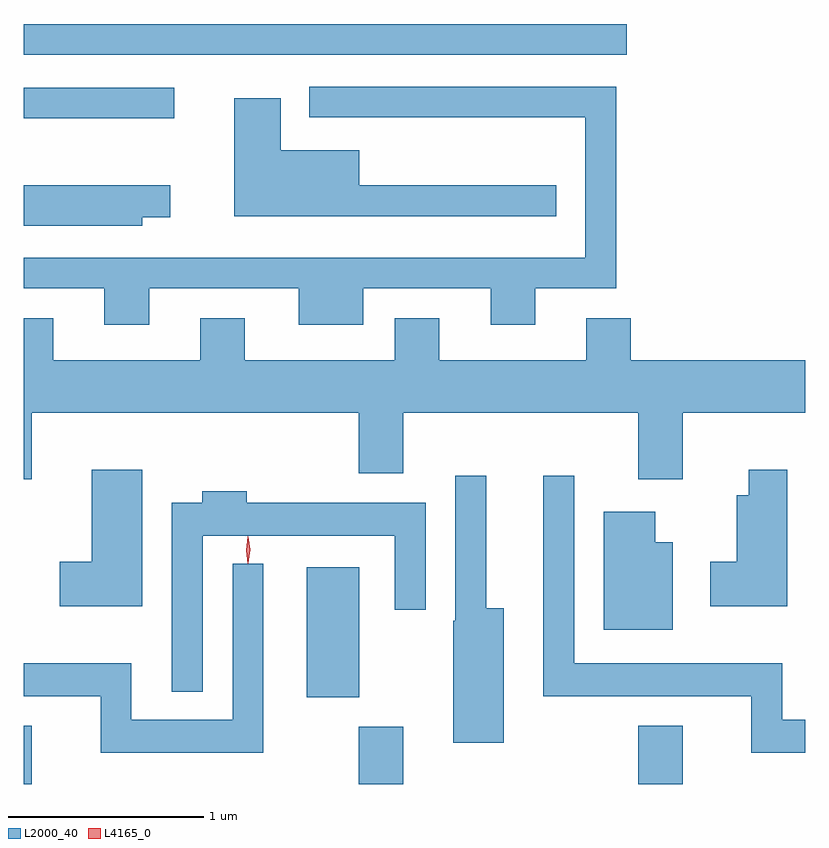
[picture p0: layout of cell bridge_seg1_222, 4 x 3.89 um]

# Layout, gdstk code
import gdstk
lib = gdstk.Library(unit=1e-6, precision=1e-09)
def R(c, l, rs):  # rectangles x0, y0, x1, y1
    for r in rs: c.add(gdstk.rectangle(r[:2], r[2:], *l))
def P(c, l, *ps):  # polygons
    for p in ps: c.add(gdstk.Polygon(p, *l))
L2000_40 = (2000, 40)
L4165_0 = (4165, 0)

bridge_seg1_222 = lib.new_cell('bridge_seg1_222')
R(bridge_seg1_222, L2000_40, [(836.517,875.476,836.559,875.774), (838.231,875.476,838.459,875.769), (839.661,875.476,839.889,875.774), (837.966,875.921,838.234,876.584), (836.517,878.881,837.288,879.039), (836.517,879.206,839.603,879.364)])
P(bridge_seg1_222, L2000_40, [(837.159,878.011),(837.926,878.011),(837.926,877.826),(838.254,877.826),(838.254,878.011),(838.906,878.011),(838.906,877.826),(839.134,877.826),(839.134,878.011),(839.549,878.011),(839.549,879.044),(837.978,879.044),(837.978,878.886),(839.391,878.886),(839.391,878.169),(836.517,878.169),(836.517,878.011),(836.931,878.011),(836.931,877.826),(837.159,877.826)],
  [(839.243,878.539),(838.234,878.539),(838.234,878.719),(837.834,878.719),(837.834,878.984),(837.596,878.984),(837.596,878.381),(839.243,878.381)],
  [(837.124,878.376),(837.268,878.376),(837.268,878.539),(836.517,878.539),(836.517,878.331),(837.124,878.331)],
  [(836.559,877.376),(838.231,877.376),(838.231,877.066),(838.459,877.066),(838.459,877.376),(839.661,877.376),(839.661,877.036),(839.889,877.036),(839.889,877.376),(840.517,877.376),(840.517,877.644),(839.624,877.644),(839.624,877.859),(839.396,877.859),(839.396,877.644),(838.644,877.644),(838.644,877.859),(838.416,877.859),(838.416,877.644),(837.649,877.644),(837.649,877.859),(837.421,877.859),(837.421,877.644),(836.669,877.644),(836.669,877.859),(836.517,877.859),(836.517,877.036),(836.559,877.036)],
  [(840.424,877.084),(840.226,877.084),(840.226,876.954),(840.166,876.954),(840.166,876.614),(840.031,876.614),(840.031,876.386),(840.424,876.386)],
  [(837.124,877.084),(836.866,877.084),(836.866,876.614),(836.701,876.614),(836.701,876.386),(837.124,876.386)],
  [(840.517,875.804),(840.399,875.804),(840.399,876.094),(839.334,876.094),(839.334,877.053),(839.176,877.053),(839.176,875.926),(840.241,875.926),(840.241,875.636),(840.517,875.636)],
  [(838.974,876.374),(838.884,876.374),(838.884,877.053),(838.726,877.053),(838.726,876.31),(838.716,876.31),(838.716,875.686),(838.974,875.686)],
  [(837.434,876.746),(838.416,876.746),(838.416,876.368),(838.574,876.368),(838.574,876.914),(837.659,876.914),(837.659,876.974),(837.431,876.974),(837.431,876.914),(837.276,876.914),(837.276,875.948),(837.434,875.948)],
  [(839.839,876.714),(839.749,876.714),(839.749,876.869),(839.486,876.869),(839.486,876.266),(839.839,876.266)],
  [(837.744,876.603),(837.586,876.603),(837.586,875.804),(837.069,875.804),(837.069,876.094),(836.517,876.094),(836.517,875.926),(836.911,875.926),(836.911,875.636),(837.744,875.636)])
P(bridge_seg1_222, L4165_0, [(837.664,876.604),(837.655,876.673),(837.664,876.742),(837.665,876.743),(837.666,876.742),(837.675,876.673),(837.666,876.604),(837.665,876.604)],
  [(837.666,876.607),(837.666,876.608),(837.656,876.674),(837.666,876.74),(837.666,876.74),(837.667,876.74),(837.676,876.674),(837.667,876.608)])

lib.write_gds('bridge_seg1_222.gds')
